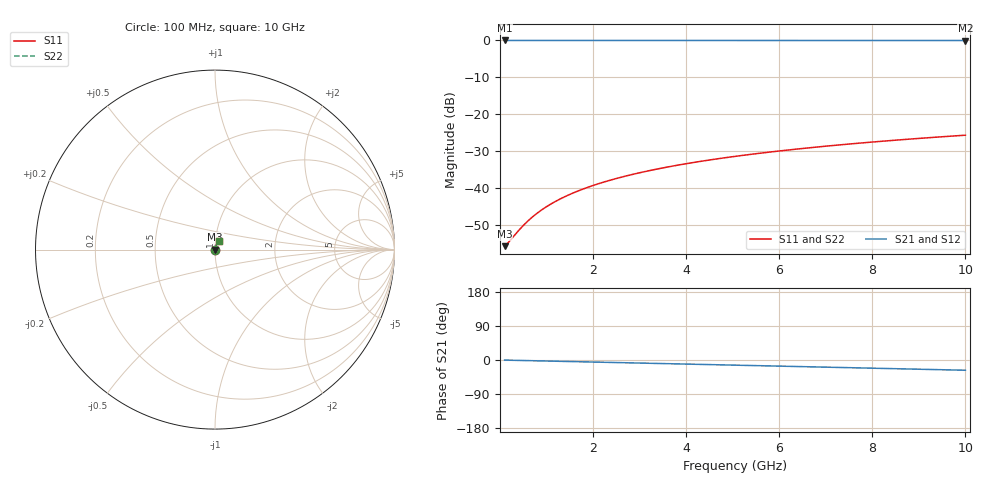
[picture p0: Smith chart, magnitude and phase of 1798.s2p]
# Hz S RI R 50.00
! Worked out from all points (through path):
!   100 points, 100 MHz to 10 GHz, reference 50 ohm
!   highest |S21| = -0.01 dB at 100 MHz (marker M1); lowest = 0.0 dB at 10 GHz (marker M2)
!   group delay of S21, straight-line fit = 7.51 ps
!   lowest |S11| = -55.7 dB at 100 MHz (marker M3), VSWR 1.00, Z = 50.2 + j0.0533 ohm
!   |S11| at or under -10 dB: start of sweep to end of sweep
!   |S22| runs from -55.7 to -25.7 dB; largest |S21 - S12| = 0
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1e8  0.00155 0.000531  0.9984 -0.00468  0.9984 -0.00468  0.00155 0.000531
2e8  0.00156 0.00106  0.9984 -0.00936  0.9984 -0.00936  0.00156 0.00106
4e8  0.0016 0.00212  0.9982 -0.0187  0.9982 -0.0187  0.0016 0.00212
5e8  0.00163 0.00265  0.9981 -0.0234  0.9981 -0.0234  0.00163 0.00265
6e8  0.00166 0.00318  0.998 -0.0281  0.998 -0.0281  0.00166 0.00318
7e8  0.0017 0.00371  0.9979 -0.0328  0.9979 -0.0328  0.0017 0.00371
8e8  0.00173 0.00424  0.9977 -0.0374  0.9977 -0.0374  0.00173 0.00424
1e9  0.00183 0.0053  0.9973 -0.0468  0.9973 -0.0468  0.00183 0.0053
1.2e9  0.00194 0.00635  0.9968 -0.0561  0.9968 -0.0561  0.00194 0.00635
1.5e9  0.00214 0.00793  0.9959 -0.0702  0.9959 -0.0702  0.00214 0.00793
1.8e9  0.00239 0.0095  0.9947 -0.0842  0.9947 -0.0842  0.00239 0.0095
2.1e9  0.00268 0.0111  0.9934 -0.0982  0.9934 -0.0982  0.00268 0.0111
2.5e9  0.00314 0.0131  0.9914 -0.1168  0.9914 -0.1168  0.00314 0.0131
2.9e9  0.00368 0.0152  0.9889 -0.1354  0.9889 -0.1354  0.00368 0.0152
3.4e9  0.00445 0.0177  0.9854 -0.1586  0.9854 -0.1586  0.00445 0.0177
4.2e9  0.00594 0.0217  0.9786 -0.1956  0.9786 -0.1956  0.00594 0.0217
5.1e9  0.00796 0.026  0.9693 -0.2369  0.9693 -0.2369  0.00796 0.026
5.9e9  0.0101 0.0296  0.9595 -0.2733  0.9595 -0.2733  0.0101 0.0296
6.7e9  0.0125 0.0332  0.9483 -0.3094  0.9483 -0.3094  0.0125 0.0332
7.5e9  0.0151 0.0365  0.9357 -0.3451  0.9357 -0.3451  0.0151 0.0365
8.4e9  0.0184 0.04  0.9199 -0.3847  0.9199 -0.3847  0.0184 0.04
1e10  0.025 0.0457  0.8876 -0.4534  0.8876 -0.4534  0.025 0.0457
